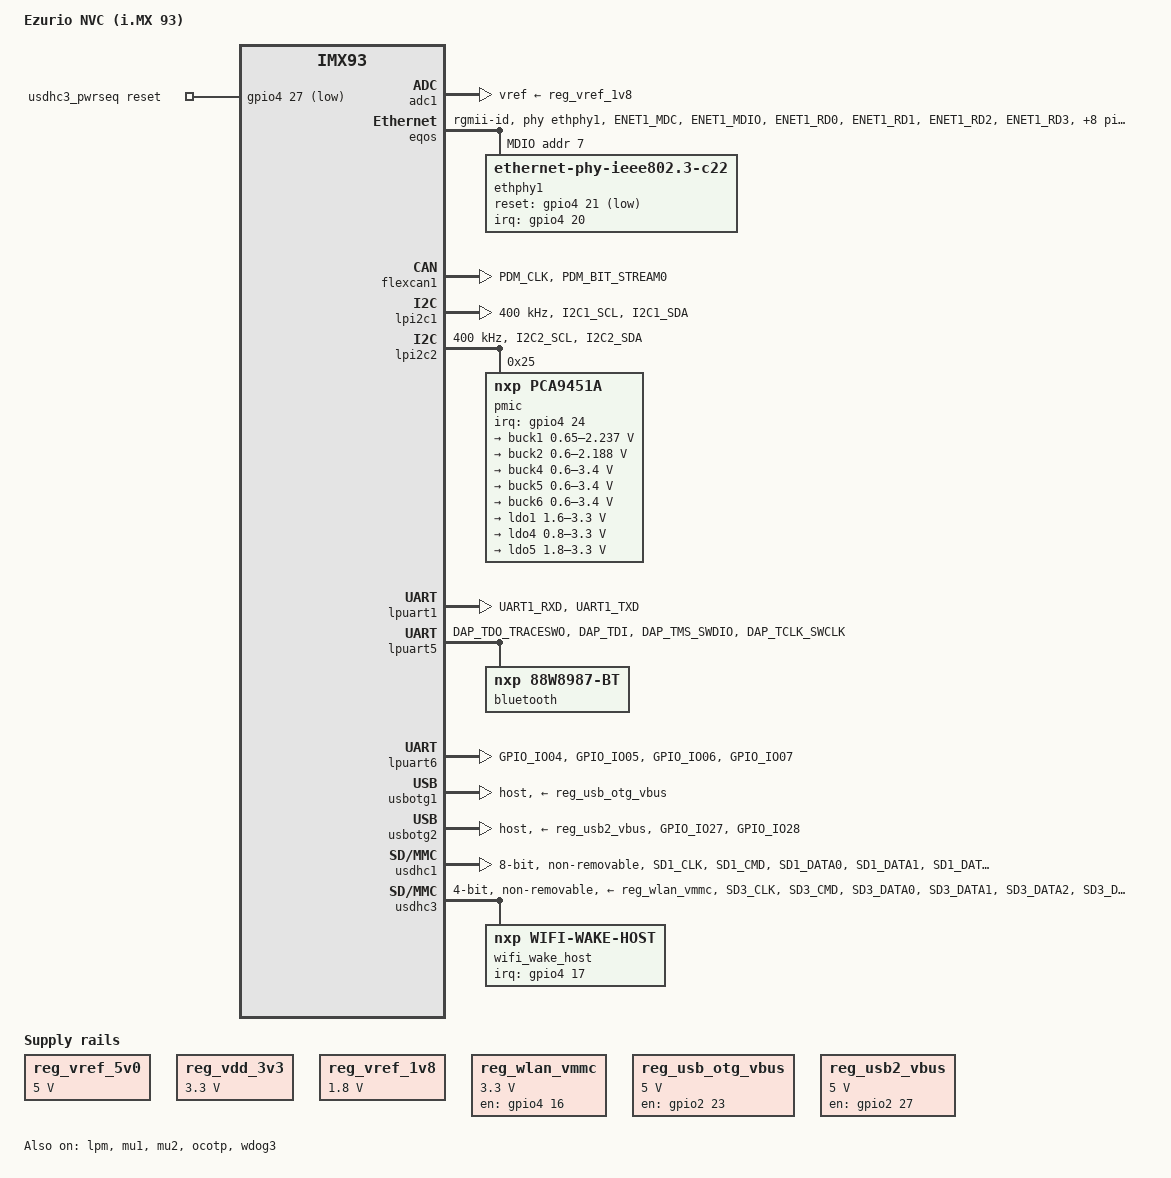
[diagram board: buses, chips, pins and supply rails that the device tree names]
// SPDX-License-Identifier: (GPL-2.0-or-later OR MIT)
/*
 * Copyright 2025 Ezurio LLC
 *
 */

/dts-v1/;

#include <dt-bindings/leds/common.h>
#include <dt-bindings/net/ti-dp83867.h>
#include <dt-bindings/usb/pd.h>
#include "imx93.dtsi"

/ {
	model = "Ezurio NVC (i.MX 93)";
	compatible = "ezurio,imx93-nvc", "fsl,imx93";

	aliases {
		eth0 = &eqos;
	};

	chosen {
		stdout-path = &lpuart1;
	};

	reserved-memory {
		#address-cells = <2>;
		#size-cells = <2>;
		ranges;

		linux,cma {
			compatible = "shared-dma-pool";
			reusable;
			alloc-ranges = <0 0x80000000 0 0x40000000>;
			size = <0 0x10000000>;
			linux,cma-default;
		};

		ele_reserved: ele-reserved@a4120000 {
			compatible = "shared-dma-pool";
			reg = <0 0xa4120000 0 0x100000>;
			no-map;
		};
	};

	reg_vref_5v0: regulator-5v0 {
		compatible = "regulator-fixed";
		regulator-name = "vref_5V0";
		regulator-min-microvolt = <5000000>;
		regulator-max-microvolt = <5000000>;
	};

	reg_vdd_3v3: regulator-3v3 {
		compatible = "regulator-fixed";
		regulator-name = "vref_3V3";
		regulator-min-microvolt = <3300000>;
		regulator-max-microvolt = <3300000>;
	};

	reg_vref_1v8: regulator-1v8 {
		compatible = "regulator-fixed";
		regulator-name = "vref_1v8";
		regulator-min-microvolt = <1800000>;
		regulator-max-microvolt = <1800000>;
	};

	reg_wlan_vmmc: regulator-wlan-vmmc {
		compatible = "regulator-fixed";
		regulator-name = "reg_wlan_vmmc";
		regulator-min-microvolt = <3300000>;
		regulator-max-microvolt = <3300000>;
		gpio = <&gpio4 16 GPIO_ACTIVE_HIGH>;
		startup-delay-us = <20000>;
		enable-active-high;
	};

	usdhc3_pwrseq: usdhc3-pwrseq {
		compatible = "mmc-pwrseq-simple";
		reset-gpios = <&gpio4 27 GPIO_ACTIVE_LOW>;
	};

	reg_usb_otg_vbus: regulator-usb-otg-vbus {
		compatible = "regulator-fixed";
		regulator-name = "usb1_vbus";
		regulator-min-microvolt = <5000000>;
		regulator-max-microvolt = <5000000>;
		gpio = <&gpio2 23 GPIO_ACTIVE_HIGH>;
		enable-active-high;
	};

	reg_usb2_vbus: regulator-usb2-vbus {
		compatible = "regulator-fixed";
		regulator-name = "usb2_vbus";
		regulator-min-microvolt = <5000000>;
		regulator-max-microvolt = <5000000>;
		gpio = <&gpio2 27 GPIO_ACTIVE_HIGH>;
		enable-active-high;
	};
};

&adc1 {
	vref-supply = <&reg_vref_1v8>;
	status = "okay";
};

&ele_fw2 {
	memory-region = <&ele_reserved>;
};

&eqos {
	pinctrl-names = "default", "sleep";
	pinctrl-0 = <&pinctrl_eqos>;
	pinctrl-1 = <&pinctrl_eqos_sleep>;
	phy-mode = "rgmii-id";
	phy-handle = <&ethphy1>;
	status = "okay";

	mdio {
		compatible = "snps,dwmac-mdio";
		#address-cells = <1>;
		#size-cells = <0>;

		ethphy1: ethernet-phy@7 {
			compatible = "ethernet-phy-ieee802.3-c22";
			reg = <7>;
			interrupts-extended = <&gpio4 20 IRQ_TYPE_LEVEL_LOW>;
			reset-gpios =<&gpio4 21 GPIO_ACTIVE_LOW>;
			reset-assert-us = <25>;
			reset-deassert-us = <60000>;
			ti,rx-internal-delay = <DP83867_RGMIIDCTL_2_25_NS>;
			ti,tx-internal-delay = <DP83867_RGMIIDCTL_2_00_NS>;
			ti,fifo-depth = <DP83867_PHYCR_FIFO_DEPTH_4_B_NIB>;
			ti,clk-output-sel = <DP83867_CLK_O_SEL_OFF>;
		};
	};
};

&flexcan1 {
	pinctrl-names = "default";
	pinctrl-0 = <&pinctrl_can1>;
	status = "okay";
};

&lpi2c1 {
	#address-cells = <1>;
	#size-cells = <0>;
	clock-frequency = <400000>;
	pinctrl-names = "default", "sleep";
	pinctrl-0 = <&pinctrl_lpi2c1>;
	pinctrl-1 = <&pinctrl_lpi2c1>;
	status = "okay";
};

&lpi2c2 {
	#address-cells = <1>;
	#size-cells = <0>;
	clock-frequency = <400000>;
	pinctrl-names = "default", "sleep";
	pinctrl-0 = <&pinctrl_lpi2c2>;
	pinctrl-1 = <&pinctrl_lpi2c2>;
	status = "okay";

	pmic@25 {
		compatible = "nxp,pca9451a";
		reg = <0x25>;
		interrupts-extended = <&gpio4 24 IRQ_TYPE_EDGE_FALLING>;

		regulators {
			buck1: BUCK1 {
				regulator-name = "BUCK1";
				regulator-min-microvolt = <650000>;
				regulator-max-microvolt = <2237500>;
				regulator-boot-on;
				regulator-always-on;
				regulator-ramp-delay = <3125>;
			};

			buck2: BUCK2 {
				regulator-name = "BUCK2";
				regulator-min-microvolt = <600000>;
				regulator-max-microvolt = <2187500>;
				regulator-boot-on;
				regulator-always-on;
				regulator-ramp-delay = <3125>;
			};

			buck4: BUCK4{
				regulator-name = "BUCK4";
				regulator-min-microvolt = <600000>;
				regulator-max-microvolt = <3400000>;
				regulator-boot-on;
				regulator-always-on;
			};

			buck5: BUCK5{
				regulator-name = "BUCK5";
				regulator-min-microvolt = <600000>;
				regulator-max-microvolt = <3400000>;
				regulator-boot-on;
				regulator-always-on;
			};

			buck6: BUCK6 {
				regulator-name = "BUCK6";
				regulator-min-microvolt = <600000>;
				regulator-max-microvolt = <3400000>;
				regulator-boot-on;
				regulator-always-on;
			};

			ldo1: LDO1 {
				regulator-name = "LDO1";
				regulator-min-microvolt = <1600000>;
				regulator-max-microvolt = <3300000>;
				regulator-boot-on;
				regulator-always-on;
			};

			ldo4: LDO4 {
				regulator-name = "LDO4";
				regulator-min-microvolt = <800000>;
				regulator-max-microvolt = <3300000>;
				regulator-boot-on;
				regulator-always-on;
			};

			ldo5: LDO5 {
				regulator-name = "LDO5";
				regulator-min-microvolt = <1800000>;
				regulator-max-microvolt = <3300000>;
				regulator-boot-on;
				regulator-always-on;
			};
		};
	};
};

&lpi2c3 {
	#address-cells = <1>;
	#size-cells = <0>;
	clock-frequency = <400000>;
	pinctrl-names = "default", "sleep";
	pinctrl-0 = <&pinctrl_lpi2c3>;
	pinctrl-1 = <&pinctrl_lpi2c3>;
	status = "disabled";
};

&lpi2c4 {
	#address-cells = <1>;
	#size-cells = <0>;
	clock-frequency = <400000>;
	pinctrl-names = "default", "sleep";
	pinctrl-0 = <&pinctrl_lpi2c4>;
	pinctrl-1 = <&pinctrl_lpi2c4>;
	status = "disabled";
};

&lpm {
	soc-supply = <&buck1>;
	status = "okay";
};

&lpuart1 { /* Console */
	pinctrl-names = "default";
	pinctrl-0 = <&pinctrl_uart1>;
	status = "okay";
};

&lpuart5 { /* BT */
	pinctrl-names = "default";
	pinctrl-0 = <&pinctrl_uart5>;
	pinctrl-assert-gpios = <&gpio4 15 GPIO_ACTIVE_HIGH>;
	uart-has-rtscts;
	status = "okay";

	bluetooth {
		compatible = "nxp,88w8987-bt";
	};
};

&lpuart6 { /* BL654 */
	pinctrl-names = "default";
	pinctrl-0 = <&pinctrl_uart6>;
	uart-has-rtscts;
	status = "okay";
};

&mu1 {
	status = "okay";
};

&mu2 {
	status = "okay";
};

&ocotp {
	status = "okay";
};

&usbotg1 { /* USB0 */
	dr_mode = "host";
	disable-over-current;
	vbus-supply = <&reg_usb_otg_vbus>;
	status = "okay";
};

&usbotg2 { /* USB1 - mPCIe */
	dr_mode = "host";
	pinctrl-names = "default";
	pinctrl-0 = <&pinctrl_usb2>;
	pinctrl-assert-gpios = <&gpio2 28 GPIO_ACTIVE_HIGH>;
	disable-over-current;
	vbus-supply = <&reg_usb2_vbus>;
	status = "okay";
};

&usdhc1 { /* eMMC */
	pinctrl-names = "default", "state_100mhz", "state_200mhz";
	pinctrl-0 = <&pinctrl_usdhc1>;
	pinctrl-1 = <&pinctrl_usdhc1_100mhz>;
	pinctrl-2 = <&pinctrl_usdhc1_200mhz>;
	pinctrl-assert-gpios = <&gpio4 22 GPIO_ACTIVE_HIGH>;
	bus-width = <8>;
	non-removable;
	status = "okay";
};

&usdhc3 { /* WiFi / Bluetooth */
	pinctrl-names = "default", "state_100mhz", "state_200mhz", "sleep";
	pinctrl-0 = <&pinctrl_usdhc3>, <&pinctrl_usdhc3_wlan>;
	pinctrl-1 = <&pinctrl_usdhc3_100mhz>, <&pinctrl_usdhc3_wlan>;
	pinctrl-2 = <&pinctrl_usdhc3_200mhz>, <&pinctrl_usdhc3_wlan>;
	pinctrl-3 = <&pinctrl_usdhc3_sleep>, <&pinctrl_usdhc3_wlan>;
	mmc-pwrseq = <&usdhc3_pwrseq>;
	bus-width = <4>;
	keep-power-in-suspend;
	non-removable;
	wakeup-source;
	pm-ignore-notify;
	fsl,sdio-async-interrupt-enabled;
	vmmc-supply = <&reg_wlan_vmmc>;
	vqmmc-1-8-v;
	vqmmc-supply = <&reg_vref_1v8>;
	status = "okay";
	#address-cells = <1>;
	#size-cells = <0>;

	wifi_wake_host {
		compatible = "nxp,wifi-wake-host";
		interrupts-extended = <&gpio4 17 IRQ_TYPE_LEVEL_LOW>;
		interrupt-names = "host-wake";
	};
};

&wdog3 {
	status = "okay";
};

&iomuxc {
	pinctrl-names = "default";
	pinctrl-0 = <&pinctrl_hog>;

	pinctrl_hog: hoggrp {
		fsl,pins = <
			MX93_PAD_SAI1_RXD0__GPIO1_IO14		0x31e /* BT_WAKE_IN */
			MX93_PAD_GPIO_IO08__GPIO2_IO08		0x31e /* HI1_EN1 */
			MX93_PAD_GPIO_IO09__GPIO2_IO09		0x31e /* HI1_EN2 */
			MX93_PAD_GPIO_IO10__GPIO2_IO10		0x31e /* HI1_LATCH */
			MX93_PAD_GPIO_IO11__GPIO2_IO11		0x31e /* HI1_SEL1 */
			MX93_PAD_GPIO_IO12__GPIO2_IO12		0x31e /* HI1_SEL2 */
			MX93_PAD_GPIO_IO13__GPIO2_IO13		0x31e /* HI1_DIA_EN */
			MX93_PAD_GPIO_IO14__GPIO2_IO14		0x31e /* HI2_EN1 */
			MX93_PAD_GPIO_IO15__GPIO2_IO15		0x31e /* HI2_EN2 */
			MX93_PAD_GPIO_IO16__GPIO2_IO16		0x31e /* HI2_LATCH */
			MX93_PAD_GPIO_IO17__GPIO2_IO17		0x31e /* HI2_SEL1 */
			MX93_PAD_GPIO_IO18__GPIO2_IO18		0x31e /* HI2_SEL2 */
			MX93_PAD_GPIO_IO19__GPIO2_IO19		0x31e /* HI2_DIA_EN */
			MX93_PAD_GPIO_IO20__GPIO2_IO20		0x31e /* CAN_LED1 */
			MX93_PAD_GPIO_IO21__GPIO2_IO21		0x31e /* CAN_LED2 */
			MX93_PAD_GPIO_IO22__GPIO2_IO22		0x31e /* Status LED */
			MX93_PAD_GPIO_IO23__GPIO2_IO23		0x31e /* USB0_EN_OC */
			MX93_PAD_GPIO_IO24__GPIO2_IO24		0x31e /* USB0_INT */
			MX93_PAD_GPIO_IO25__GPIO2_IO25		0x31e /* A_WAKE */
			MX93_PAD_GPIO_IO26__GPIO2_IO26		0x31e /* nRESET_BLE */
			MX93_PAD_GPIO_IO29__GPIO2_IO29		0x31e /* CH-INT */
			MX93_PAD_SD2_CLK__GPIO3_IO01		0x31e /* REV0 */
			MX93_PAD_SD2_CMD__GPIO3_IO02		0x31e /* REV1 */
			MX93_PAD_SD2_DATA0__GPIO3_IO03		0x31e /* REV2 */
			MX93_PAD_SD2_DATA1__GPIO3_IO04		0x31e /* REV3 */
			MX93_PAD_SD2_DATA2__GPIO3_IO05		0x31e /* SLOPE_IN */
			MX93_PAD_ENET2_MDC__GPIO4_IO14		0x31e /* BL_BOOT_STATUS */
			MX93_PAD_ENET2_MDIO__GPIO4_IO15		0x31e /* BT_EN */
			MX93_PAD_ENET2_TD0__GPIO4_IO19		0x31e /* 5V_BOOT_EN */
			MX93_PAD_ENET2_TD1__GPIO4_IO18		0x31e /* BL_BOOT_MODE */
			MX93_PAD_ENET2_TXC__GPIO4_IO21		0x31e /* RGMII_nRST */
			MX93_PAD_ENET2_TX_CTL__GPIO4_IO20	0x31e /* RGMII_INT */
			MX93_PAD_ENET2_RD0__GPIO4_IO24		0x31e /* PMIC_INT */
			MX93_PAD_ENET2_RD1__GPIO4_IO25		0x31e /* SOFT_RST */
			MX93_PAD_ENET2_RD2__GPIO4_IO26		0x31e /* NMEA2K_PWR_OK */
			MX93_PAD_ENET2_RXC__GPIO4_IO23		0x31e /* BT_HOST_WAKE */
			MX93_PAD_ENET2_RXC__GPIO4_IO23		0x31e /* BT_HOST_WAKE */
			MX93_PAD_ENET2_RX_CTL__GPIO4_IO22	0x31e /* EMMC_RST */
			MX93_PAD_CCM_CLKO1__GPIO3_IO26		0x31e /* CH-STAT */
			MX93_PAD_CCM_CLKO2__GPIO3_IO27		0x31e /* CH-CE */
			MX93_PAD_CCM_CLKO3__GPIO4_IO28		0x31e /* CH-QON */
			MX93_PAD_CCM_CLKO4__GPIO4_IO29		0x31e /* FB-GI/TOUT */
		>;
	};

	pinctrl_eqos: eqosgrp {
		fsl,pins = <
			MX93_PAD_ENET1_MDC__ENET_QOS_MDC			0x57e
			MX93_PAD_ENET1_MDIO__ENET_QOS_MDIO			0x57e
			MX93_PAD_ENET1_RD0__ENET_QOS_RGMII_RD0			0x37e
			MX93_PAD_ENET1_RD1__ENET_QOS_RGMII_RD1			0x37e
			MX93_PAD_ENET1_RD2__ENET_QOS_RGMII_RD2			0x37e
			MX93_PAD_ENET1_RD3__ENET_QOS_RGMII_RD3			0x37e
			MX93_PAD_ENET1_RXC__CCM_ENET_QOS_CLOCK_GENERATE_RX_CLK	0x3fe
			MX93_PAD_ENET1_RX_CTL__ENET_QOS_RGMII_RX_CTL		0x57e
			MX93_PAD_ENET1_TD0__ENET_QOS_RGMII_TD0			0x57e
			MX93_PAD_ENET1_TD1__ENET_QOS_RGMII_TD1			0x57e
			MX93_PAD_ENET1_TD2__ENET_QOS_RGMII_TD2			0x57e
			MX93_PAD_ENET1_TD3__ENET_QOS_RGMII_TD3			0x57e
			MX93_PAD_ENET1_TXC__CCM_ENET_QOS_CLOCK_GENERATE_TX_CLK	0x5fe
			MX93_PAD_ENET1_TX_CTL__ENET_QOS_RGMII_TX_CTL		0x57e
		>;
	};

	pinctrl_eqos_sleep: eqosgrpsleep {
		fsl,pins = <
			MX93_PAD_ENET1_MDC__GPIO4_IO00				0x31e
			MX93_PAD_ENET1_MDIO__GPIO4_IO01				0x31e
			MX93_PAD_ENET1_RD0__GPIO4_IO10				0x31e
			MX93_PAD_ENET1_RD1__GPIO4_IO11				0x31e
			MX93_PAD_ENET1_RD2__GPIO4_IO12				0x31e
			MX93_PAD_ENET1_RD3__GPIO4_IO13				0x31e
			MX93_PAD_ENET1_RXC__GPIO4_IO09				0x31e
			MX93_PAD_ENET1_RX_CTL__GPIO4_IO08			0x31e
			MX93_PAD_ENET1_TD0__GPIO4_IO05				0x31e
			MX93_PAD_ENET1_TD1__GPIO4_IO04				0x31e
			MX93_PAD_ENET1_TD2__GPIO4_IO03				0x31e
			MX93_PAD_ENET1_TD3__GPIO4_IO02				0x31e
			MX93_PAD_ENET1_TXC__GPIO4_IO07				0x31e
			MX93_PAD_ENET1_TX_CTL__GPIO4_IO06			0x31e
		>;
	};

	pinctrl_lpi2c1: lpi2c1grp {
		fsl,pins = <
			MX93_PAD_I2C1_SCL__LPI2C1_SCL				0x40000b9e
			MX93_PAD_I2C1_SDA__LPI2C1_SDA				0x40000b9e
		>;
	};

	pinctrl_lpi2c2: lpi2c2grp {
		fsl,pins = <
			MX93_PAD_I2C2_SCL__LPI2C2_SCL				0x40000b9e
			MX93_PAD_I2C2_SDA__LPI2C2_SDA				0x40000b9e
		>;
	};

	pinctrl_lpi2c3: lpi2c3grp {
		fsl,pins = <
			MX93_PAD_GPIO_IO00__LPI2C3_SDA				0x40000b9e
			MX93_PAD_GPIO_IO01__LPI2C3_SCL				0x40000b9e
		>;
	};

	pinctrl_lpi2c4: lpi2c4grp {
		fsl,pins = <
			MX93_PAD_GPIO_IO02__LPI2C4_SDA				0x40000b9e
			MX93_PAD_GPIO_IO03__LPI2C4_SCL				0x40000b9e
		>;
	};

	pinctrl_can1: can1grp {
		fsl,pins = <
			MX93_PAD_PDM_CLK__CAN1_TX				0x139e
			MX93_PAD_PDM_BIT_STREAM0__CAN1_RX			0x139e
		>;
	};

	pinctrl_uart1: uart1grp {
		fsl,pins = <
			MX93_PAD_UART1_RXD__LPUART1_RX				0x31e
			MX93_PAD_UART1_TXD__LPUART1_TX				0x31e
		>;
	};

	pinctrl_uart5: uart5grp {
		fsl,pins = <
			MX93_PAD_DAP_TDO_TRACESWO__LPUART5_TX			0x31e
			MX93_PAD_DAP_TDI__LPUART5_RX				0x31e
			MX93_PAD_DAP_TMS_SWDIO__LPUART5_RTS_B			0x31e
			MX93_PAD_DAP_TCLK_SWCLK__LPUART5_CTS_B			0x31e
		>;
	};

	pinctrl_uart6: uart6grp {
		fsl,pins = <
			MX93_PAD_GPIO_IO04__LPUART6_TX				0x31e
			MX93_PAD_GPIO_IO05__LPUART6_RX				0x31e
			MX93_PAD_GPIO_IO06__LPUART6_CTS_B			0x31e
			MX93_PAD_GPIO_IO07__LPUART6_RTS_B			0x31e
		>;
	};

	pinctrl_usb2: usb2grp {
		fsl,pins = <
			MX93_PAD_GPIO_IO27__GPIO2_IO27		0x31e /* mPCIe W_DISABLE# */
			MX93_PAD_GPIO_IO28__GPIO2_IO28		0x31e /* mPCIe PERST# */
		>;
	};

	/* need to config the SION for data and cmd pad, refer to ERR052021 */
	pinctrl_usdhc1: usdhc1grp {
		fsl,pins = <
			MX93_PAD_SD1_CLK__USDHC1_CLK		0x1582
			MX93_PAD_SD1_CMD__USDHC1_CMD		0x40001382
			MX93_PAD_SD1_DATA0__USDHC1_DATA0	0x40001382
			MX93_PAD_SD1_DATA1__USDHC1_DATA1	0x40001382
			MX93_PAD_SD1_DATA2__USDHC1_DATA2	0x40001382
			MX93_PAD_SD1_DATA3__USDHC1_DATA3	0x40001382
			MX93_PAD_SD1_DATA4__USDHC1_DATA4	0x40001382
			MX93_PAD_SD1_DATA5__USDHC1_DATA5	0x40001382
			MX93_PAD_SD1_DATA6__USDHC1_DATA6	0x40001382
			MX93_PAD_SD1_DATA7__USDHC1_DATA7	0x40001382
			MX93_PAD_SD1_STROBE__USDHC1_STROBE	0x1582
		>;
	};

	/* need to config the SION for data and cmd pad, refer to ERR052021 */
	pinctrl_usdhc1_100mhz: usdhc1-100mhzgrp {
		fsl,pins = <
			MX93_PAD_SD1_CLK__USDHC1_CLK		0x158e
			MX93_PAD_SD1_CMD__USDHC1_CMD		0x4000138e
			MX93_PAD_SD1_DATA0__USDHC1_DATA0	0x4000138e
			MX93_PAD_SD1_DATA1__USDHC1_DATA1	0x4000138e
			MX93_PAD_SD1_DATA2__USDHC1_DATA2	0x4000138e
			MX93_PAD_SD1_DATA3__USDHC1_DATA3	0x4000138e
			MX93_PAD_SD1_DATA4__USDHC1_DATA4	0x4000138e
			MX93_PAD_SD1_DATA5__USDHC1_DATA5	0x4000138e
			MX93_PAD_SD1_DATA6__USDHC1_DATA6	0x4000138e
			MX93_PAD_SD1_DATA7__USDHC1_DATA7	0x4000138e
			MX93_PAD_SD1_STROBE__USDHC1_STROBE	0x158e
		>;
	};

	/* need to config the SION for data and cmd pad, refer to ERR052021 */
	pinctrl_usdhc1_200mhz: usdhc1-200mhzgrp {
		fsl,pins = <
			MX93_PAD_SD1_CLK__USDHC1_CLK		0x15fe
			MX93_PAD_SD1_CMD__USDHC1_CMD		0x400013fe
			MX93_PAD_SD1_DATA0__USDHC1_DATA0	0x400013fe
			MX93_PAD_SD1_DATA1__USDHC1_DATA1	0x400013fe
			MX93_PAD_SD1_DATA2__USDHC1_DATA2	0x400013fe
			MX93_PAD_SD1_DATA3__USDHC1_DATA3	0x400013fe
			MX93_PAD_SD1_DATA4__USDHC1_DATA4	0x400013fe
			MX93_PAD_SD1_DATA5__USDHC1_DATA5	0x400013fe
			MX93_PAD_SD1_DATA6__USDHC1_DATA6	0x400013fe
			MX93_PAD_SD1_DATA7__USDHC1_DATA7	0x400013fe
			MX93_PAD_SD1_STROBE__USDHC1_STROBE	0x15fe
		>;
	};

	/* need to config the SION for data and cmd pad, refer to ERR052021 */
	pinctrl_usdhc3: usdhc3grp {
		fsl,pins = <
			MX93_PAD_SD3_CLK__USDHC3_CLK		0x1582
			MX93_PAD_SD3_CMD__USDHC3_CMD		0x40001382
			MX93_PAD_SD3_DATA0__USDHC3_DATA0	0x40001382
			MX93_PAD_SD3_DATA1__USDHC3_DATA1	0x40001382
			MX93_PAD_SD3_DATA2__USDHC3_DATA2	0x40001382
			MX93_PAD_SD3_DATA3__USDHC3_DATA3	0x40001382
		>;
	};

	/* need to config the SION for data and cmd pad, refer to ERR052021 */
	pinctrl_usdhc3_100mhz: usdhc3-100mhzgrp {
		fsl,pins = <
			MX93_PAD_SD3_CLK__USDHC3_CLK		0x158e
			MX93_PAD_SD3_CMD__USDHC3_CMD		0x4000138e
			MX93_PAD_SD3_DATA0__USDHC3_DATA0	0x4000138e
			MX93_PAD_SD3_DATA1__USDHC3_DATA1	0x4000138e
			MX93_PAD_SD3_DATA2__USDHC3_DATA2	0x4000138e
			MX93_PAD_SD3_DATA3__USDHC3_DATA3	0x4000138e
		>;
	};

	/* need to config the SION for data and cmd pad, refer to ERR052021 */
	pinctrl_usdhc3_200mhz: usdhc3-200mhzgrp {
		fsl,pins = <
			MX93_PAD_SD3_CLK__USDHC3_CLK		0x15fe
			MX93_PAD_SD3_CMD__USDHC3_CMD		0x400013fe
			MX93_PAD_SD3_DATA0__USDHC3_DATA0	0x400013fe
			MX93_PAD_SD3_DATA1__USDHC3_DATA1	0x400013fe
			MX93_PAD_SD3_DATA2__USDHC3_DATA2	0x400013fe
			MX93_PAD_SD3_DATA3__USDHC3_DATA3	0x400013fe
		>;
	};

	pinctrl_usdhc3_sleep: usdhc3grpsleep {
		fsl,pins = <
			MX93_PAD_SD3_CLK__GPIO3_IO20		0x31e
			MX93_PAD_SD3_CMD__GPIO3_IO21		0x31e
			MX93_PAD_SD3_DATA0__GPIO3_IO22		0x31e
			MX93_PAD_SD3_DATA1__GPIO3_IO23		0x31e
			MX93_PAD_SD3_DATA2__GPIO3_IO24		0x31e
			MX93_PAD_SD3_DATA3__GPIO3_IO25		0x31e
		>;
	};

	pinctrl_usdhc3_wlan: usdhc3wlangrp {
		fsl,pins = <
			MX93_PAD_ENET2_RD3__GPIO4_IO27		0x31e /* WL_EN */
			MX93_PAD_ENET2_TD2__GPIO4_IO17		0x31e /* WL_IRQ */
			MX93_PAD_ENET2_TD3__GPIO4_IO16		0x31e /* WL_RST */
			MX93_PAD_PDM_BIT_STREAM1__GPIO1_IO10	0x31e /* WL_WAKE_IN */
			MX93_PAD_SAI1_TXC__GPIO1_IO12		0x31e /* EXT_PRI */
		>;
	};
};
